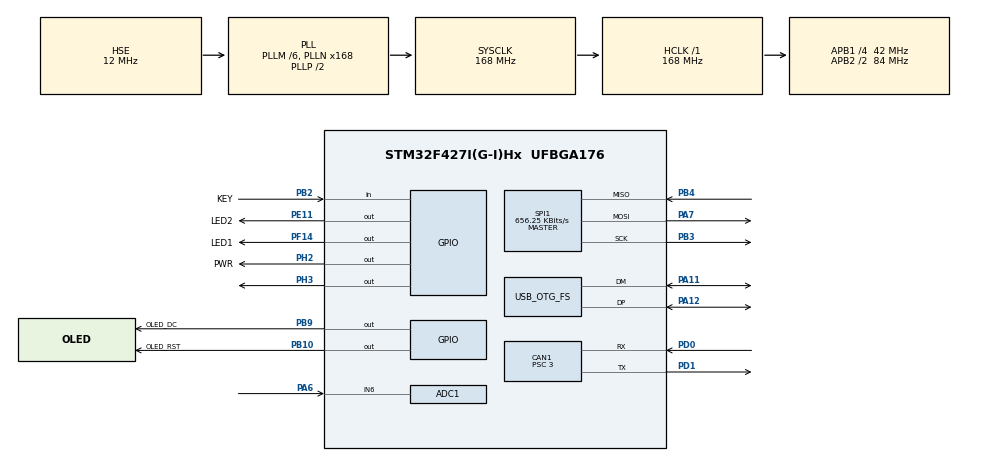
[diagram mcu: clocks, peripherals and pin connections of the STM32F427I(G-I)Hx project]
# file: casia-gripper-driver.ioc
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ADC1.Channel-0\#ChannelRegularConversion=ADC_CHANNEL_6
ADC1.NbrOfConversionFlag=1
ADC1.Rank-0\#ChannelRegularConversion=1
ADC1.SamplingTime-0\#ChannelRegularConversion=ADC_SAMPLETIME_3CYCLES
ADC1.master=1
CAN1.ABOM=ENABLE
CAN1.BS1=CAN_BS1_9TQ
CAN1.BS2=CAN_BS2_4TQ
CAN1.CalculateTimeBit=1000
CAN1.CalculateTimeQuantum=71.42857142857143
CAN1.Prescaler=3
CAN1.SJW=CAN_SJW_1TQ
Mcu.Family=STM32F4
Mcu.Name=STM32F427I(G-I)Hx
Mcu.Package=UFBGA176
NVIC.CAN1_RX0_IRQn=true\:0\:0\:false\:false\:true\:true\:true
NVIC.CAN1_TX_IRQn=true\:0\:0\:false\:false\:true\:true\:true
NVIC.OTG_FS_IRQn=true\:0\:0\:false\:false\:true\:false\:true
NVIC.PriorityGroup=NVIC_PRIORITYGROUP_4
NVIC.TIM1_UP_TIM10_IRQn=true\:0\:0\:false\:false\:true\:true\:true
NVIC.TIM6_DAC_IRQn=true\:0\:0\:false\:false\:true\:true\:true
NVIC.TimeBase=TIM6_DAC_IRQn
NVIC.TimeBaseIP=TIM6
PA11.GPIO_PuPd=GPIO_PULLUP
PA11.Mode=Device_Only
PA11.Signal=USB_OTG_FS_DM
PA12.GPIO_PuPd=GPIO_PULLUP
PA12.Mode=Device_Only
PA12.Signal=USB_OTG_FS_DP
PA13.Mode=Serial_Wire
PA13.Signal=SYS_JTMS-SWDIO
PA14.Mode=Serial_Wire
PA14.Signal=SYS_JTCK-SWCLK
PA6.Signal=ADCx_IN6
PA7.Mode=Full_Duplex_Master
PA7.Signal=SPI1_MOSI
PB10.GPIO_Label=OLED_RST
PB10.Signal=GPIO_Output
PB2/BOOT1.GPIO_Label=KEY
PB2/BOOT1.Signal=GPIO_Input
PB3.Mode=Full_Duplex_Master
PB3.Signal=SPI1_SCK
PB4.Mode=Full_Duplex_Master
PB4.Signal=SPI1_MISO
PB9.GPIO_Label=OLED_DC
PB9.Signal=GPIO_Output
PD0.Mode=Master
PD0.Signal=CAN1_RX
PD1.Mode=Master
PD1.Signal=CAN1_TX
PE11.GPIO_Label=LED2
PE11.Signal=GPIO_Output
PF14.GPIO_Label=LED1
PF14.Signal=GPIO_Output
PH0/OSC_IN.Mode=HSE-External-Oscillator
PH0/OSC_IN.Signal=RCC_OSC_IN
PH1/OSC_OUT.Mode=HSE-External-Oscillator
PH1/OSC_OUT.Signal=RCC_OSC_OUT
PH2.GPIO_Label=PWR
PH2.Signal=GPIO_Output
PH3.Signal=GPIO_Output
ProjectManager.HeapSize=0x200
ProjectManager.StackSize=0x400
ProjectManager.TargetToolchain=STM32CubeIDE
RCC.48MHZClocksFreq_Value=48000000
RCC.AHBFreq_Value=168000000
RCC.APB1CLKDivider=RCC_HCLK_DIV4
RCC.APB1Freq_Value=42000000
RCC.APB1TimFreq_Value=84000000
RCC.APB2CLKDivider=RCC_HCLK_DIV2
RCC.APB2Freq_Value=84000000
RCC.APB2TimCLKDivider=2
RCC.APB2TimFreq_Value=168000000
RCC.CortexFreq_Value=168000000
RCC.HCLKFreq_Value=168000000
RCC.HSE_VALUE=12000000
RCC.HSI_VALUE=16000000
RCC.LSE_VALUE=32768
RCC.PLLM=6
RCC.PLLN=168
RCC.PLLQ=7
RCC.SYSCLKFreq_VALUE=168000000
RCC.SYSCLKSource=RCC_SYSCLKSOURCE_PLLCLK
RCC.VCOOutputFreq_Value=336000000
SH.ADCx_IN6.0=ADC1_IN6,IN6
SPI1.BaudRatePrescaler=SPI_BAUDRATEPRESCALER_128
SPI1.CalculateBaudRate=656.25 KBits/s
SPI1.Direction=SPI_DIRECTION_2LINES
SPI1.Mode=SPI_MODE_MASTER
SPI1.VirtualType=VM_MASTER
TIM10.Period=999
TIM10.Prescaler=8400-1
USB_DEVICE.CLASS_NAME_FS=CDC
USB_DEVICE.VirtualMode-CDC_FS=Cdc
USB_DEVICE.VirtualModeFS=Cdc_FS
USB_OTG_FS.VirtualMode=Device_Only
VP_SYS_VS_tim6.Mode=TIM6
VP_TIM10_VS_ClockSourceINT.Mode=Enable_Timer
VP_USB_DEVICE_VS_USB_DEVICE_CDC_FS.Mode=CDC_FS
board=demo

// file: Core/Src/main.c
/* USER CODE BEGIN Header */
/**
 ******************************************************************************
 * @file           : main.c
 * @brief          : Main program body
 ******************************************************************************
 * @attention
 *
 * <h2><center>&copy; Copyright (c) 2019 STMicroelectronics.
 * All rights reserved.</center></h2>
 *
 * This software component is licensed by ST under BSD 3-Clause license,
 * the "License"; You may not use this file except in compliance with the
 * License. You may obtain a copy of the License at:
 *                        opensource.org/licenses/BSD-3-Clause
 *
 ******************************************************************************
 */
/* USER CODE END Header */

#include "main.h"
#include "adc.h"
#include "can.h"
#include "spi.h"
#include "tim.h"
#include "usb_device.h"
#include "gpio.h"
#include "math.h"
/* USER CODE BEGIN Includes */
#include "stdio.h"

#include "oled.h"
#include "bsp_can.h"
#include "pid.h"
#include "usbd_cdc_if.h"
//#include "remote_control.h"
/* USER CODE END Includes */

/* USER CODE BEGIN PD */
#define APP_RX_DATA_SIZE  2048
#define APP_TX_DATA_SIZE  2048
/* USER CODE END PD */

/* USER CODE BEGIN PV */
PID_TypeDef motor_pid[4];
int32_t set_spd = 0;
int32_t set_spd1 = 0;
int32_t set_spd2 = 0;
static int key_sta = 0;
int speed_step_sign = +1;
uint32_t a;
extern uint8_t UserRxBufferFS[APP_RX_DATA_SIZE];
extern uint32_t buffsize;
extern uint8_t UserTxBufferFS[APP_TX_DATA_SIZE];
extern uint32_t UserTxBufPtrOut;

char message[50];
char TxBuffer[50];
uint16_t TIM_COUNT[2];
#define SpeedStep 500
/* USER CODE END PV */

void SystemClock_Config(void);

/* USER CODE BEGIN 0 */
void Key_Scan()
{
    if (HAL_GPIO_ReadPin(KEY_GPIO_Port, KEY_Pin) == GPIO_PIN_RESET)
    {
        if (key_sta == 0)
        {
            key_sta = 1;
            set_spd1 += SpeedStep * speed_step_sign;

            if (set_spd1 > 1000)
            {
                speed_step_sign = -1;
            }
            if (set_spd1 < -1000)
            {
                speed_step_sign = 1;
            }
        }
    }
    else
    {
        key_sta = 0;
    }

}

/* USER CODE END 0 */

int main(void)
{

  /* MCU Configuration--------------------------------------------------------*/

  /* Reset of all peripherals, Initializes the Flash interface and the Systick. */
  HAL_Init();

  /* Configure the system clock */
  SystemClock_Config();

  /* Initialize all configured peripherals */
  MX_GPIO_Init();
  MX_CAN1_Init();
  MX_ADC1_Init();
  MX_SPI1_Init();
  MX_TIM10_Init();
  MX_USB_DEVICE_Init();
  /* USER CODE BEGIN 2 */
    // Power on the motor output 24V (PH2)
    HAL_GPIO_WritePin(PWR_GPIO_Port, PWR_Pin, GPIO_PIN_SET);
    // Power on the motor output 24V (PH3)
        HAL_GPIO_WritePin(GPIOH, GPIO_PIN_3, GPIO_PIN_SET);

    HAL_TIM_Base_Start_IT(&htim10);

    // Config & Start CAN1
    BSP_CAN1_Init();

    // OLED init
    led_off();
    oled_init();
    oled_clear(Pen_Clear);
    oled_refresh_gram();

    /*< 初始化PID参数 >*/
    for (int i = 0; i < 4; i++)
    {
        pid_init(&motor_pid[i]);
        motor_pid[i].f_param_init(&motor_pid[i], PID_Speed, 16384, 5000, 10, 0,
                8000, 0, 1.5, 0.1, 0);
    }

    Key_Scan();
    set_spd1 = 0;
    set_spd2 = 0;
    set_spd = 0;
  /* USER CODE END 2 */

  /* Infinite loop */
  /* USER CODE BEGIN WHILE */
    while(1)
    {

        Main_loop();
        if(buffsize==4){
        	set_spd=UserRxBufferFS[1]-48;
//      set_spd = UserRxBufferFS[2]-48;
        }
        if(buffsize==5){
        	 set_spd=UserRxBufferFS[1]-48;
        	 set_spd=set_spd*10;
        	 set_spd =set_spd+UserRxBufferFS[2]-48;
        }
        if(UserRxBufferFS[0]=='a'){
                      	set_spd1 = set_spd*100;
              		}
      	if(UserRxBufferFS[0]=='b'){
      					set_spd2 = set_spd*100;
                    }
    }
//    for(int k=1;k<buffsize;k++){
//    				set_spd=set_spd*10+(UserRxBufferFS[k]-48);
//    		}

    while (1)
    {
        Key_Scan();

        for (int i = 0; i < 3; i++)
        {
            motor_pid[i].target = set_spd1;
            motor_pid[i].f_cal_pid(&motor_pid[i], moto_chassis[i].speed_rpm);

        }
        motor_pid[3].target = set_spd2;
                   motor_pid[3].f_cal_pid(&motor_pid[3], moto_chassis[3].speed_rpm);

        set_moto_current(&hcan1, motor_pid[0].output, motor_pid[1].output,
                motor_pid[2].output, motor_pid[3].output);

        HAL_Delay(10);      //PID控制频率100HZ
    /* USER CODE END WHILE */

    }
}

void SystemClock_Config(void)
{
  RCC_OscInitTypeDef RCC_OscInitStruct = {0};
  RCC_ClkInitTypeDef RCC_ClkInitStruct = {0};

  /** Configure the main internal regulator output voltage
  */
  __HAL_RCC_PWR_CLK_ENABLE();
  __HAL_PWR_VOLTAGESCALING_CONFIG(PWR_REGULATOR_VOLTAGE_SCALE1);
  /** Initializes the CPU, AHB and APB busses clocks
  */
  RCC_OscInitStruct.OscillatorType = RCC_OSCILLATORTYPE_HSE;
  RCC_OscInitStruct.HSEState = RCC_HSE_ON;
  RCC_OscInitStruct.PLL.PLLState = RCC_PLL_ON;
  RCC_OscInitStruct.PLL.PLLSource = RCC_PLLSOURCE_HSE;
  RCC_OscInitStruct.PLL.PLLM = 6;
  RCC_OscInitStruct.PLL.PLLN = 168;
  RCC_OscInitStruct.PLL.PLLP = RCC_PLLP_DIV2;
  RCC_OscInitStruct.PLL.PLLQ = 7;
  if (HAL_RCC_OscConfig(&RCC_OscInitStruct) != HAL_OK)
  {
    Error_Handler();
  }
  /** Initializes the CPU, AHB and APB busses clocks
  */
  RCC_ClkInitStruct.ClockType = RCC_CLOCKTYPE_HCLK|RCC_CLOCKTYPE_SYSCLK
                              |RCC_CLOCKTYPE_PCLK1|RCC_CLOCKTYPE_PCLK2;
  RCC_ClkInitStruct.SYSCLKSource = RCC_SYSCLKSOURCE_PLLCLK;
  RCC_ClkInitStruct.AHBCLKDivider = RCC_SYSCLK_DIV1;
  RCC_ClkInitStruct.APB1CLKDivider = RCC_HCLK_DIV4;
  RCC_ClkInitStruct.APB2CLKDivider = RCC_HCLK_DIV2;

  if (HAL_RCC_ClockConfig(&RCC_ClkInitStruct, FLASH_LATENCY_5) != HAL_OK)
  {
    Error_Handler();
  }
}

void HAL_TIM_PeriodElapsedCallback(TIM_HandleTypeDef *htim)
{
  if (htim->Instance == TIM6) {
    HAL_IncTick();
  }
  /* USER CODE BEGIN Callback 1 */

    if (htim->Instance == TIM10)
    {
        oled_clear(Pen_Clear);
        oled_showstring1(0, 2, "Parameters:");
        sprintf(message, "%c", UserRxBufferFS[0]);
        //sprintf(message, "%d", moto_chassis[1].last_angle);
        oled_showstring1(1, 2, message);
        sprintf(message, "%ld",set_spd);
        //sprintf(message, "%d", moto_chassis[1].angle);
        oled_showstring1(2, 2, message);
        //sprintf(message, "%d", moto_chassis[1].speed_rpm);
        sprintf(message, "%ld",set_spd1);
        oled_showstring1(3, 2, message);
        //sprintf(message, "%.3f", moto_chassis[1].real_current);
        sprintf(message, "%ld",set_spd2);
        oled_showstring1(4, 2, message);
        oled_refresh_gram();
    }
  /* USER CODE END Callback 1 */
}

void Error_Handler(void)
{
}

/************************ (C) COPYRIGHT STMicroelectronics *****END OF FILE****/
